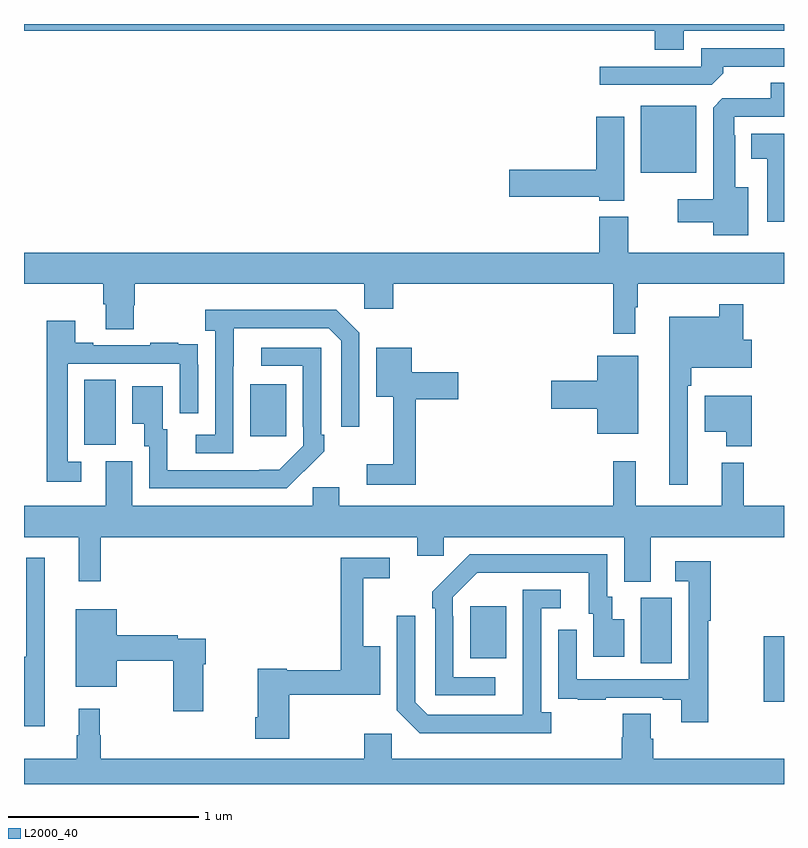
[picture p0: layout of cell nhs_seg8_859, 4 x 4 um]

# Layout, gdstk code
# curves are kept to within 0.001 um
import gdstk
lib = gdstk.Library(unit=1e-6, precision=1e-09)
def R(c, l, rs):  # rectangles x0, y0, x1, y1
    for r in rs: c.add(gdstk.rectangle(r[:2], r[2:], *l))
def P(c, l, *ps):  # polygons
    for p in ps: c.add(gdstk.Polygon(p, *l))
L2000_40 = (2000, 40)

nhs_seg8_859 = lib.new_cell('nhs_seg8_859')
R(nhs_seg8_859, L2000_40, [(170.894,1082.333,171,1082.677), (170.246,1082.536,170.41,1082.88), (169.349,1082.561,169.537,1082.836), (167.318,1083.685,167.482,1084.028), (168.191,1083.729,168.379,1084.003), (170.246,1085.117,170.539,1085.47)])
P(nhs_seg8_859, L2000_40, [(170.473,1085.864),(171,1085.864),(171,1085.9),(167,1085.9),(167,1085.864),(170.321,1085.864),(170.321,1085.765),(170.473,1085.765)],
  [(170.681,1085.642),(170.681,1085.676),(171,1085.676),(171,1085.772),(170.565,1085.772),(170.565,1085.676),(170.031,1085.676),(170.031,1085.58),(170.619,1085.58)],
  [(170.812,1085.041),(170.743,1085.041),(170.743,1085.315),(170.739,1085.315),(170.739,1085.412),(171,1085.412),(171,1085.591),(170.93,1085.591),(170.93,1085.508),(170.676,1085.508),(170.627,1085.459),(170.627,1084.978),(170.442,1084.978),(170.442,1084.856),(170.627,1084.856),(170.627,1084.787),(170.812,1084.787)],
  [(170.158,1085.413),(170.012,1085.413),(170.012,1085.132),(169.554,1085.132),(169.554,1084.99),(170.028,1084.99),(170.028,1084.97),(170.158,1084.97)],
  [(171,1085.323),(170.828,1085.323),(170.828,1085.192),(170.912,1085.192),(170.912,1084.86),(171,1084.86)],
  [(170.218,1084.409),(170.23,1084.409),(170.23,1084.532),(171,1084.532),(171,1084.696),(170.179,1084.696),(170.179,1084.885),(170.027,1084.885),(170.027,1084.696),(167,1084.696),(167,1084.532),(167.417,1084.532),(167.417,1084.426),(167.429,1084.426),(167.429,1084.294),(167.577,1084.294),(167.577,1084.419),(167.582,1084.419),(167.582,1084.532),(168.792,1084.532),(168.792,1084.401),(168.944,1084.401),(168.944,1084.532),(170.101,1084.532),(170.101,1084.269),(170.218,1084.269)],
  [(170.493,1083.995),(170.513,1083.995),(170.513,1084.091),(170.83,1084.091),(170.83,1084.239),(170.786,1084.239),(170.786,1084.426),(170.658,1084.426),(170.658,1084.36),(170.396,1084.36),(170.396,1083.474),(170.493,1083.474)],
  [(168.102,1084.099),(168.103,1084.299),(168.603,1084.299),(168.669,1084.233),(168.669,1083.78),(168.765,1083.78),(168.765,1084.275),(168.644,1084.396),(167.955,1084.396),(167.955,1084.286),(168.006,1084.286),(168.006,1083.738),(167.904,1083.738),(167.904,1083.642),(168.102,1083.642)],
  [(167.302,1083.597),(167.229,1083.597),(167.229,1084.113),(167.82,1084.113),(167.82,1083.852),(167.916,1083.852),(167.916,1084.106),(167.915,1084.106),(167.915,1084.215),(167.813,1084.215),(167.813,1084.222),(167.665,1084.222),(167.665,1084.209),(167.365,1084.209),(167.365,1084.222),(167.269,1084.222),(167.269,1084.339),(167.121,1084.339),(167.121,1083.492),(167.302,1083.492)],
  [(168.473,1083.547),(168.474,1083.546),(168.579,1083.651),(168.579,1083.739),(168.564,1083.739),(168.564,1084.197),(168.249,1084.197),(168.249,1084.101),(168.468,1084.101),(168.468,1083.781),(168.471,1083.781),(168.471,1083.681),(168.343,1083.553),(167.755,1083.552),(167.755,1083.768),(167.731,1083.768),(167.731,1083.994),(167.57,1083.994),(167.57,1083.797),(167.633,1083.797),(167.633,1083.678),(167.658,1083.678),(167.658,1083.456),(168.382,1083.456)],
  [(169.061,1083.926),(169.285,1083.926),(169.285,1084.068),(169.042,1084.068),(169.042,1084.195),(168.854,1084.195),(168.854,1083.938),(168.944,1083.938),(168.944,1083.583),(168.804,1083.583),(168.804,1083.474),(169.061,1083.474)],
  [(170.233,1084.153),(170.018,1084.153),(170.018,1084.022),(169.776,1084.022),(169.776,1083.875),(170.018,1083.875),(170.018,1083.743),(170.233,1083.743)],
  [(170.831,1083.943),(170.582,1083.943),(170.582,1083.755),(170.696,1083.755),(170.696,1083.677),(170.831,1083.677)],
  [(170.299,1083.2),(171,1083.2),(171,1083.364),(170.789,1083.364),(170.789,1083.592),(170.672,1083.592),(170.672,1083.364),(170.219,1083.364),(170.219,1083.598),(170.101,1083.598),(170.101,1083.364),(168.658,1083.364),(168.658,1083.462),(168.519,1083.462),(168.519,1083.364),(167.569,1083.364),(167.569,1083.6),(167.429,1083.6),(167.429,1083.364),(167,1083.364),(167,1083.2),(167.288,1083.2),(167.288,1082.967),(167.405,1082.967),(167.405,1083.2),(169.07,1083.2),(169.07,1083.102),(169.209,1083.102),(169.209,1083.2),(170.159,1083.2),(170.159,1082.965),(170.299,1082.965)],
  [(169.48,1082.463),(169.26,1082.463),(169.26,1082.783),(169.257,1082.783),(169.257,1082.883),(169.386,1083.012),(169.973,1083.012),(169.973,1082.796),(169.997,1082.796),(169.997,1082.571),(170.158,1082.571),(170.158,1082.767),(170.095,1082.767),(170.095,1082.886),(170.07,1082.886),(170.07,1083.108),(169.346,1083.108),(169.149,1082.913),(169.149,1082.825),(169.164,1082.825),(169.164,1082.367),(169.48,1082.367)],
  [(167.11,1083.091),(167.013,1083.091),(167.013,1082.569),(167,1082.569),(167,1082.204),(167.11,1082.204)],
  [(168.396,1082.37),(168.874,1082.37),(168.874,1082.626),(168.785,1082.626),(168.785,1082.982),(168.925,1082.982),(168.925,1083.09),(168.667,1083.09),(168.667,1082.498),(168.384,1082.498),(168.384,1082.506),(168.23,1082.506),(168.23,1082.251),(168.218,1082.251),(168.218,1082.139),(168.396,1082.139)],
  [(170.6,1082.76),(170.615,1082.76),(170.615,1083.073),(170.427,1083.073),(170.427,1082.967),(170.499,1082.967),(170.499,1082.451),(169.908,1082.451),(169.908,1082.713),(169.812,1082.713),(169.812,1082.458),(169.813,1082.458),(169.813,1082.349),(169.915,1082.349),(169.915,1082.343),(170.063,1082.343),(170.063,1082.355),(170.363,1082.355),(170.363,1082.343),(170.459,1082.343),(170.459,1082.226),(170.6,1082.226)],
  [(169.774,1082.278),(169.722,1082.278),(169.722,1082.826),(169.825,1082.826),(169.825,1082.922),(169.626,1082.922),(169.625,1082.265),(169.125,1082.265),(169.059,1082.331),(169.059,1082.785),(168.963,1082.785),(168.963,1082.289),(169.084,1082.168),(169.774,1082.168)],
  [(167.944,1082.531),(167.957,1082.531),(167.957,1082.664),(167.81,1082.664),(167.81,1082.684),(167.488,1082.684),(167.488,1082.821),(167.273,1082.821),(167.273,1082.411),(167.488,1082.411),(167.488,1082.548),(167.786,1082.548),(167.786,1082.283),(167.944,1082.283)],
  [(168.79,1082.164),(168.79,1082.032),(167.405,1082.032),(167.405,1082.156),(167.398,1082.156),(167.398,1082.296),(167.288,1082.296),(167.288,1082.156),(167.277,1082.156),(167.277,1082.032),(167,1082.032),(167,1081.9),(171,1081.9),(171,1082.032),(170.312,1082.032),(170.312,1082.138),(170.299,1082.138),(170.299,1082.27),(170.152,1082.27),(170.152,1082.145),(170.147,1082.145),(170.147,1082.032),(168.936,1082.032),(168.936,1082.164)])

lib.write_gds('nhs_seg8_859.gds')
